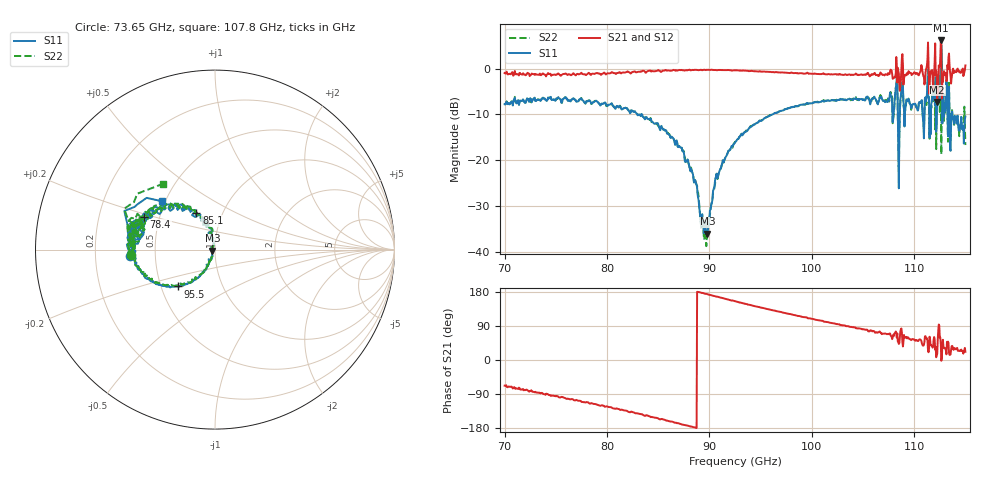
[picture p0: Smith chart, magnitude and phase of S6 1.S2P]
!  2-Port S-parameters saved by WinCal
! VAR ChuckHeaterState=Unknown
! VAR ChuckTemp=NaN
! VAR ChuckTempUnits=C
! VAR NAME=S6
! VAR FILENAME=S6.S2P
! VAR DATE=8/1/2024 12:39:49 PM
! VAR PHYS_PORTS=1,2
! VAR ObjTypeName=DATASET
! VAR IndexType=Frequency
# Hz S DB R 1
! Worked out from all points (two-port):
!   901 points, 70 GHz to 115 GHz, reference 1 ohm
!   highest |S21| = 6.14 dB at 112.6 GHz (marker M1); lowest = -7.3 dB at 112.2 GHz (marker M2)
!   |S21| within 3 dB of the highest: 108.849 GHz to 108.8504 GHz (1.337 MHz wide, 0.00123 % of centre); 112.5639 GHz to 112.6617 GHz (97.84 MHz wide, 0.0869 % of centre)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
!   lowest |S11| = -36.1 dB at 89.8 GHz (marker M3), VSWR 1.03, Z = 0.971 - j0.0118 ohm
!   |S11| at or under -10 dB: 82.93462 GHz to 83.34016 GHz (405.5 MHz wide, 0.488 % of centre); 83.43 GHz to 96.19 GHz (12.76 GHz wide, 14.2 % of centre); 113.7 GHz to end of sweep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
!   |S22| runs from -38.8 to 1.6 dB; largest |S21 - S12| = 1.6
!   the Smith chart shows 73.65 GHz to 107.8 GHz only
!   S11 on the Smith chart (normalised r, x): 73.65 GHz: 0.36, -0.03; 78.4 GHz: 0.41, +0.18; 85.1 GHz: 0.75, +0.32; 95.5 GHz: 0.61, -0.27; 107.8 GHz: 0.48, +0.31
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7e10  -7.77 -153.3  -0.96 -67.8  -0.97 -67.1  -7.82 -155.2
7.365e10  -6.51 -175.4  -1.26 -87.0  -1.26 -86.2  -6.53 -176.1
7.75e10  -6.58 161.0  -0.91 -110.2  -0.92 -109.7  -6.45 159.3
7.84e10  -7.23 155.4  -1.37 -114.9  -1.38 -114.3  -7.35 153.5
8.5e10  -12.16 116.6  -0.32 -154.1  -0.34 -153.1  -12.43 116.9
8.51e10  -12.82 116.9  -0.43 -155.9  -0.45 -154.6  -12.77 117.8
8.735e10  -17.98 104.6  -0.36 -170.2  -0.36 -169.1  -17.91 104.1
8.98e10  -36.06 -157.3  -0.26 173.6  -0.26 174.9  -36.57 -156.1
9.075e10  -23.88 -123.4  -0.36 167.2  -0.36 168.4  -23.53 -123.2
9.25e10  -16.13 -118.6  -0.37 155.1  -0.38 156.5  -16.04 -120.0
9.55e10  -10.67 -135.4  -0.70 135.4  -0.69 136.7  -10.72 -136.9
1e11  -7.58 -160.9  -1.13 108.6  -1.13 110.1  -7.60 -162.6
1.075e11  -7.06 162.2  -1.20 68.0  -1.17 69.3  -7.08 157.4
1.0785e11  -7.92 137.8  -1.24 54.9  -1.23 53.5  -6.61 128.2
1.1115e11  -7.18 148.0  -0.20 58.3  -0.15 61.2  -7.88 138.6
1.116e11  -14.38 -140.2  -0.59 39.3  -0.56 64.9  -13.93 -156.2
1.1225e11  -5.35 -93.5  -7.30 16.4  -7.32 21.2  -3.17 -90.2
1.1245e11  -4.62 169.2  0.30 91.0  0.29 84.8  -5.02 159.0
1.126e11  4.06 148.7  6.14 40.8  6.13 83.5  -4.63 175.8
1.1285e11  -5.54 140.7  -1.53 37.1  -1.53 43.2  -5.56 134.6
1.1315e11  -2.81 135.9  -2.77 15.0  -2.77 27.3  -2.95 132.6
1.15e11  -10.47 107.4  0.70 21.6  0.68 21.4  -16.70 101.7
